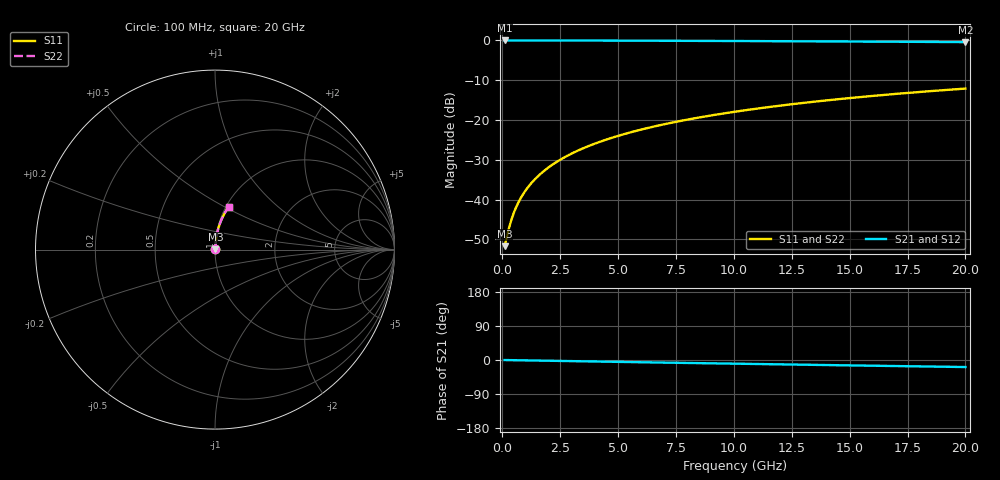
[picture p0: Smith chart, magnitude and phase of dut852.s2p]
! Touchstone file exported from HFSS 2024.1.0
!  File:  C:/UserFiles/LocalFiles/RDL_TSV_Batchsim/temp_RDL_top_852_1779855731.aedt
!  Generated:  12:24:42 PM May 27, 2026
!  Design:  RDL_top
!  Project:  temp_RDL_top_852_1779855731
!  Setup:  Setup1
!  Solution:  Sweep
! Variables:
!  dtsv = 10.80580581um
!  hbump = 3um
!  htsv = 59.98um
!  ldown = 100um
!  lrdl = 198.19um
!  p = 40
!  p1 = 44.29um
!  rhole = 1um
!  t = 450um
!  tdown = 3.915915916um
!  trdl = 3.22um
!  wdown = 15.38538539um
!  wrdl = 10.34um
# GHz S MA R 50.000000
! Terminal data exported
! Port[1] = Box2_T1
! Port[2] = Box2_T2
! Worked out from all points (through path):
!   200 points, 100 MHz to 20 GHz, reference 50 ohm
!   highest |S21| = -0.02 dB at 100 MHz (marker M1); lowest = -0.4 dB at 20 GHz (marker M2)
!   group delay of S21, straight-line fit = 2.57 ps
!   lowest |S11| = -51.7 dB at 100 MHz (marker M3), VSWR 1.01, Z = 50.2 + j0.13 ohm
!   |S11| at or under -10 dB: start of sweep to end of sweep
!   |S22| runs from -51.7 to -12.1 dB; largest |S21 - S12| = 3.4e-15
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0.1  0.002602 29.9  0.9977 -0.1  0.9977 -0.1  0.002602 29.9
! Gamma 0 0 0 0
! Port Impedance 50 0 50 0
0.3  0.00451 59.2  0.9977 -0.3  0.9977 -0.3  0.00451 59.2
0.4  0.005659 65.5  0.9976 -0.4  0.9976 -0.4  0.005659 65.5
0.5  0.006846 69.6  0.9976 -0.5  0.9976 -0.5  0.006846 69.6
0.6  0.008052 72.4  0.9976 -0.6  0.9976 -0.6  0.008052 72.4
0.7  0.00927 74.5  0.9975 -0.7  0.9975 -0.7  0.00927 74.5
0.9  0.01172 77.4  0.9974 -0.9  0.9974 -0.9  0.01172 77.4
1.2  0.01543 79.9  0.9972 -1.2  0.9972 -1.2  0.01543 79.9
1.4  0.01792 81.0  0.9971 -1.4  0.9971 -1.4  0.01792 81.0
1.7  0.02166 82.1  0.9969 -1.7  0.9969 -1.7  0.02166 82.1
2.2  0.02791 83.2  0.9965 -2.2  0.9965 -2.2  0.02791 83.2
2.8  0.03544 83.8  0.996 -2.8  0.996 -2.8  0.03544 83.8
3.5  0.04424 84.0  0.9952 -3.5  0.9952 -3.5  0.04424 84.0
4.2  0.05307 84.0  0.9942 -4.2  0.9942 -4.2  0.05307 84.0
5  0.06318 83.8  0.9929 -5.0  0.9929 -5.0  0.06318 83.8
5.9  0.07457 83.4  0.9913 -5.8  0.9913 -5.8  0.07457 83.5
6.8  0.08598 83.0  0.9896 -6.7  0.9896 -6.7  0.08598 83.0
8.3  0.105 82.0  0.9862 -8.1  0.9862 -8.1  0.105 82.0
10.1  0.1277 80.6  0.9818 -9.8  0.9818 -9.8  0.1277 80.6
13.4  0.1689 78.0  0.9726 -12.8  0.9726 -12.8  0.1689 78.0
16.7  0.2092 75.2  0.9623 -15.7  0.9623 -15.7  0.2092 75.2
20  0.2481 72.3  0.9511 -18.6  0.9511 -18.6  0.2481 72.3
